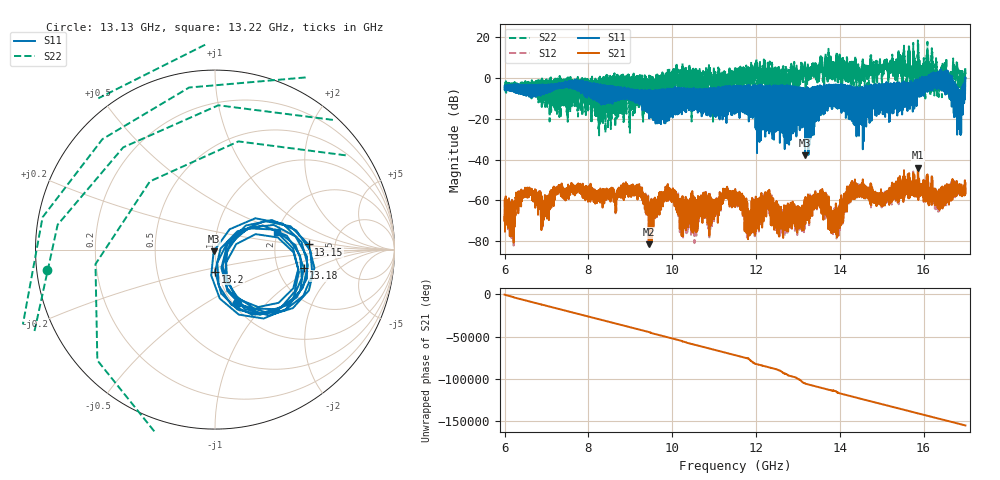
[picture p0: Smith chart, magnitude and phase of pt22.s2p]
#  HZ  S  RI  R  50.00
! Rohde & Schwarz Vector Network Analyzer
! Rohde-Schwarz,ZNA67-2Port,1332450062101215,3.01
! Created: UTC 10/27/2026, 1:11:31 PM
! freq[Hz]  re:S11  im:S11  re:S21  im:S21  re:S12  im:S12  re:S22  im:S22
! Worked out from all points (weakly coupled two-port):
!   11001 points, 6 GHz to 17 GHz, reference 50 ohm
!   highest |S21| = -43.93 dB at 15.87 GHz (marker M1); lowest = -81.6 dB at 9.442 GHz (marker M2)
!   lowest |S11| = -37.9 dB at 13.17 GHz (marker M3), VSWR 1.03, Z = 49.2 - j0.999 ohm
!   |S11| at or under -10 dB: 16.81072 GHz to 16.8189 GHz (8.18 MHz wide, 0.0486 % of centre); 16.82383 GHz to 16.83148 GHz (7.649 MHz wide, 0.0455 % of centre); 16.83421 GHz to 16.84251 GHz (8.295 MHz wide, 0.0493 % of centre) (the widest 3 of 681)
!   |S22| runs from -28.1 to 18.4 dB; largest |S21 - S12| = 0.0031
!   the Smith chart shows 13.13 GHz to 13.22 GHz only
!   S11 on the Smith chart (normalised r, x): 13.13 GHz: 1.05, -0.69; 13.15 GHz: 3.16, +0.25; 13.18 GHz: 2.80, -0.76; 13.2 GHz: 0.97, -0.24; 13.22 GHz: 1.98, +0.44
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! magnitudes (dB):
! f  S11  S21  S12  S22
! 6 GHz  -5.6  -68.2  -67.8  -5.0
! 7.834 GHz  -5.2  -54.4  -54.2  -13.5
! 9.228 GHz  -6.2  -55.0  -54.9  1.4
! 9.442 GHz  -16.4  -81.6  -82.5  -2.0
! 9.667 GHz  -6.7  -59.4  -59.8  0.5
! 11.5 GHz  -4.5  -59.3  -59.9  2.7
! 11.83 GHz  -21.3  -74.2  -74.0  -0.6
! 12.27 GHz  -6.0  -60.7  -60.8  0.0
! 13.13 GHz  -9.9  -63.6  -64.8  -0.5
! 13.15 GHz  -5.6  -71.2  -68.3  5.6
! 13.17 GHz  -37.9  -59.8  -60.5  6.0
! 13.18 GHz  -5.9  -70.7  -71.5  3.7
! 13.2 GHz  -18.2  -60.9  -60.8  -1.9
! 13.22 GHz  -8.9  -66.4  -65.5  1.2
! 13.33 GHz  -18.5  -61.3  -61.9  4.3
! 13.92 GHz  -4.3  -73.4  -74.3  3.2
! 14.3 GHz  -5.5  -59.1  -58.4  2.8
! 15.17 GHz  -9.6  -57.4  -58.1  1.1
! 15.87 GHz  -2.0  -43.9  -44.6  18.4
! 16.43 GHz  -5.1  -59.0  -57.8  -1.8
! 16.86 GHz  -5.9  -52.9  -53.6  -4.1
! 17 GHz  -0.2  -51.6  -51.4  4.0
